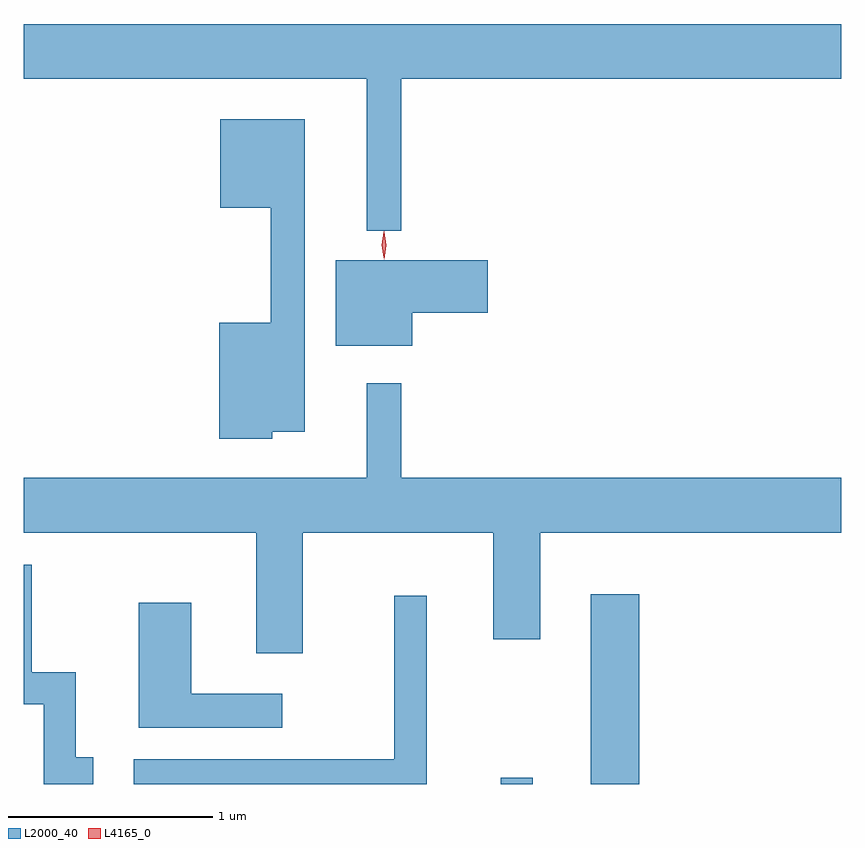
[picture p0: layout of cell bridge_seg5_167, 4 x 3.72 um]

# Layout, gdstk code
import gdstk
lib = gdstk.Library(unit=1e-6, precision=1e-09)
def R(c, l, rs):  # rectangles x0, y0, x1, y1
    for r in rs: c.add(gdstk.rectangle(r[:2], r[2:], *l))
def P(c, l, *ps):  # polygons
    for p in ps: c.add(gdstk.Polygon(p, *l))
L2000_40 = (2000, 40)
L4165_0 = (4165, 0)

bridge_seg5_167 = lib.new_cell('bridge_seg5_167')
R(bridge_seg5_167, L2000_40, [(1307.796,1444.467,1307.954,1444.498), (1308.236,1444.467,1308.474,1445.394)])
P(bridge_seg5_167, L2000_40, [(1307.309,1447.916),(1309.463,1447.916),(1309.463,1448.184),(1305.463,1448.184),(1305.463,1447.916),(1307.141,1447.916),(1307.141,1447.173),(1307.309,1447.173)],
  [(1306.679,1446.191),(1306.839,1446.191),(1306.839,1447.719),(1306.426,1447.719),(1306.426,1447.286),(1306.671,1447.286),(1306.671,1446.724),(1306.421,1446.724),(1306.421,1446.156),(1306.679,1446.156)],
  [(1307.364,1446.771),(1307.734,1446.771),(1307.734,1447.029),(1306.991,1447.029),(1306.991,1446.611),(1307.364,1446.611)],
  [(1306.829,1445.696),(1307.761,1445.696),(1307.761,1445.176),(1307.989,1445.176),(1307.989,1445.696),(1309.463,1445.696),(1309.463,1445.964),(1307.309,1445.964),(1307.309,1446.428),(1307.141,1446.428),(1307.141,1445.964),(1305.463,1445.964),(1305.463,1445.696),(1306.601,1445.696),(1306.601,1445.106),(1306.829,1445.106)],
  [(1305.803,1444.599),(1305.719,1444.599),(1305.719,1445.014),(1305.504,1445.014),(1305.504,1445.539),(1305.463,1445.539),(1305.463,1444.856),(1305.561,1444.856),(1305.561,1444.467),(1305.803,1444.467)],
  [(1307.434,1445.388),(1307.276,1445.388),(1307.276,1444.589),(1306.003,1444.589),(1306.003,1444.467),(1307.434,1444.467)],
  [(1306.728,1444.909),(1306.284,1444.909),(1306.284,1445.354),(1306.026,1445.354),(1306.026,1444.741),(1306.728,1444.741)])
P(bridge_seg5_167, L4165_0, [(1307.226,1447.034),(1307.226,1447.034),(1307.216,1447.102),(1307.225,1447.169),(1307.226,1447.17),(1307.226,1447.169),(1307.236,1447.102),(1307.227,1447.034)],
  [(1307.225,1447.04),(1307.224,1447.041),(1307.216,1447.104),(1307.226,1447.166),(1307.227,1447.167),(1307.227,1447.166),(1307.236,1447.103),(1307.225,1447.041)])

lib.write_gds('bridge_seg5_167.gds')
